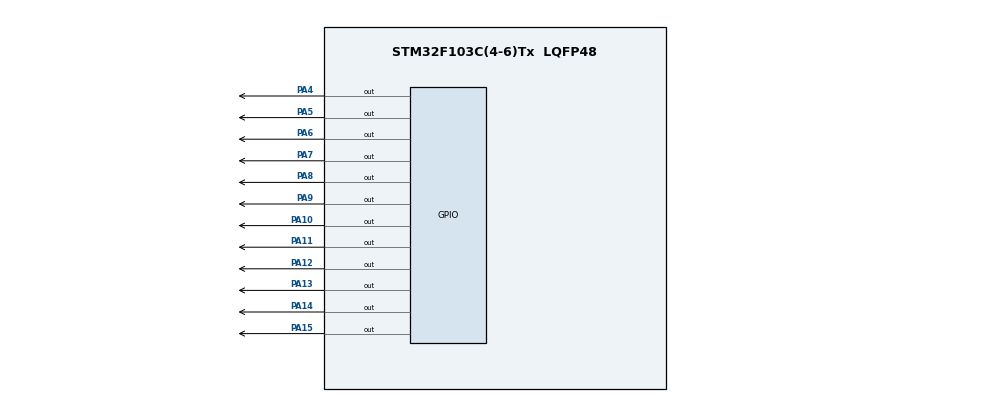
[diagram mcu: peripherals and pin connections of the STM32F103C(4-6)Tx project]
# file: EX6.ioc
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Mcu.Family=STM32F1
Mcu.Name=STM32F103C(4-6)Tx
Mcu.Package=LQFP48
NVIC.PriorityGroup=NVIC_PRIORITYGROUP_4
PA10.Signal=GPIO_Output
PA11.Signal=GPIO_Output
PA12.Signal=GPIO_Output
PA13.Signal=GPIO_Output
PA14.Signal=GPIO_Output
PA15.Signal=GPIO_Output
PA4.Signal=GPIO_Output
PA5.Signal=GPIO_Output
PA6.Signal=GPIO_Output
PA7.Signal=GPIO_Output
PA8.Signal=GPIO_Output
PA9.Signal=GPIO_Output
PD0-OSC_IN.Mode=HSE-External-Oscillator
PD0-OSC_IN.Signal=RCC_OSC_IN
PD1-OSC_OUT.Mode=HSE-External-Oscillator
PD1-OSC_OUT.Signal=RCC_OSC_OUT
ProjectManager.HeapSize=0x200
ProjectManager.StackSize=0x400
ProjectManager.TargetToolchain=STM32CubeIDE
RCC.APB1Freq_Value=8000000
RCC.APB2Freq_Value=8000000
VP_SYS_VS_ND.Mode=No_Debug
board=custom

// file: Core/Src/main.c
/* USER CODE BEGIN Header */
/**
  ******************************************************************************
  * @file           : main.c
  * @brief          : Main program body
  ******************************************************************************
  * @attention
  *
  * <h2><center>&copy; Copyright (c) 2021 STMicroelectronics.
  * All rights reserved.</center></h2>
  *
  * This software component is licensed by ST under BSD 3-Clause license,
  * the "License"; You may not use this file except in compliance with the
  * License. You may obtain a copy of the License at:
  *                        opensource.org/licenses/BSD-3-Clause
  *
  ******************************************************************************
  */
/* USER CODE END Header */
#include "main.h"

void SystemClock_Config(void);
static void MX_GPIO_Init(void);

/* USER CODE BEGIN 0 */
void setNumberOnClock(int num) {
	switch (num) {
		case 0:
			HAL_GPIO_WritePin(GPIOA, GPIO_PIN_5 | GPIO_PIN_6 | GPIO_PIN_7 | GPIO_PIN_8 | GPIO_PIN_9 |
								GPIO_PIN_10 | GPIO_PIN_11 | GPIO_PIN_12 | GPIO_PIN_13 | GPIO_PIN_14 | GPIO_PIN_15, GPIO_PIN_SET);
			HAL_GPIO_WritePin(GPIOA, GPIO_PIN_4, GPIO_PIN_RESET);
			break;
		case 1:
			HAL_GPIO_WritePin(GPIOA, GPIO_PIN_4 | GPIO_PIN_6 | GPIO_PIN_7 | GPIO_PIN_8 | GPIO_PIN_9 |
					GPIO_PIN_10 | GPIO_PIN_11 | GPIO_PIN_12 | GPIO_PIN_13 | GPIO_PIN_14 | GPIO_PIN_15, GPIO_PIN_SET);
			HAL_GPIO_WritePin(GPIOA, GPIO_PIN_5, GPIO_PIN_RESET);
			break;
		case 2:
			HAL_GPIO_WritePin(GPIOA, GPIO_PIN_4|GPIO_PIN_5|GPIO_PIN_7
			                          |GPIO_PIN_8|GPIO_PIN_9|GPIO_PIN_10|GPIO_PIN_11
			                          |GPIO_PIN_12|GPIO_PIN_13|GPIO_PIN_14|GPIO_PIN_15, GPIO_PIN_SET);
			HAL_GPIO_WritePin(GPIOA, GPIO_PIN_6, GPIO_PIN_RESET);
			break;
		case 3:
			HAL_GPIO_WritePin(GPIOA, GPIO_PIN_4|GPIO_PIN_5|GPIO_PIN_6
			                          |GPIO_PIN_8|GPIO_PIN_9|GPIO_PIN_10|GPIO_PIN_11
			                          |GPIO_PIN_12|GPIO_PIN_13|GPIO_PIN_14|GPIO_PIN_15, GPIO_PIN_SET);
			HAL_GPIO_WritePin(GPIOA, GPIO_PIN_7, GPIO_PIN_RESET);
			break;
		case 4:
			HAL_GPIO_WritePin(GPIOA, GPIO_PIN_4|GPIO_PIN_5|GPIO_PIN_6|GPIO_PIN_7
			                          |GPIO_PIN_9|GPIO_PIN_10|GPIO_PIN_11
			                          |GPIO_PIN_12|GPIO_PIN_13|GPIO_PIN_14|GPIO_PIN_15, GPIO_PIN_SET);
			HAL_GPIO_WritePin(GPIOA, GPIO_PIN_8, GPIO_PIN_RESET);
			break;
		case 5:
			HAL_GPIO_WritePin(GPIOA, GPIO_PIN_4|GPIO_PIN_5|GPIO_PIN_6|GPIO_PIN_7
			                          |GPIO_PIN_8|GPIO_PIN_10|GPIO_PIN_11
			                          |GPIO_PIN_12|GPIO_PIN_13|GPIO_PIN_14|GPIO_PIN_15, GPIO_PIN_SET);
			HAL_GPIO_WritePin(GPIOA, GPIO_PIN_9, GPIO_PIN_RESET);
			break;
		case 6:
			HAL_GPIO_WritePin(GPIOA, GPIO_PIN_4|GPIO_PIN_5|GPIO_PIN_6|GPIO_PIN_7
			                          |GPIO_PIN_8|GPIO_PIN_9|GPIO_PIN_11
			                          |GPIO_PIN_12|GPIO_PIN_13|GPIO_PIN_14|GPIO_PIN_15, GPIO_PIN_SET);
			HAL_GPIO_WritePin(GPIOA, GPIO_PIN_10, GPIO_PIN_RESET);
			break;
		case 7:
			HAL_GPIO_WritePin(GPIOA, GPIO_PIN_4|GPIO_PIN_5|GPIO_PIN_6|GPIO_PIN_7
			                          |GPIO_PIN_8|GPIO_PIN_9|GPIO_PIN_10
			                          |GPIO_PIN_12|GPIO_PIN_13|GPIO_PIN_14|GPIO_PIN_15, GPIO_PIN_SET);
			HAL_GPIO_WritePin(GPIOA, GPIO_PIN_11, GPIO_PIN_RESET);
			break;
		case 8:
			HAL_GPIO_WritePin(GPIOA, GPIO_PIN_4|GPIO_PIN_5|GPIO_PIN_6|GPIO_PIN_7
			                          |GPIO_PIN_8|GPIO_PIN_9|GPIO_PIN_10|GPIO_PIN_11
			                          |GPIO_PIN_13|GPIO_PIN_14|GPIO_PIN_15, GPIO_PIN_SET);
			HAL_GPIO_WritePin(GPIOA, GPIO_PIN_12, GPIO_PIN_RESET);
			break;
		case 9:
			HAL_GPIO_WritePin(GPIOA, GPIO_PIN_4|GPIO_PIN_5|GPIO_PIN_6|GPIO_PIN_7
			                          |GPIO_PIN_8|GPIO_PIN_9|GPIO_PIN_10|GPIO_PIN_11
			                          |GPIO_PIN_12|GPIO_PIN_14|GPIO_PIN_15, GPIO_PIN_SET);
			HAL_GPIO_WritePin(GPIOA, GPIO_PIN_13, GPIO_PIN_RESET);
			break;
		case 10:
			HAL_GPIO_WritePin(GPIOA, GPIO_PIN_4|GPIO_PIN_5|GPIO_PIN_6|GPIO_PIN_7
			                          |GPIO_PIN_8|GPIO_PIN_9|GPIO_PIN_10|GPIO_PIN_11
			                          |GPIO_PIN_12|GPIO_PIN_13|GPIO_PIN_15, GPIO_PIN_SET);
			HAL_GPIO_WritePin(GPIOA, GPIO_PIN_14, GPIO_PIN_RESET);
			break;
		case 11:
			HAL_GPIO_WritePin(GPIOA, GPIO_PIN_4|GPIO_PIN_5|GPIO_PIN_6|GPIO_PIN_7
			                          |GPIO_PIN_8|GPIO_PIN_9|GPIO_PIN_10|GPIO_PIN_11
			                          |GPIO_PIN_12|GPIO_PIN_13|GPIO_PIN_14, GPIO_PIN_SET);
			HAL_GPIO_WritePin(GPIOA, GPIO_PIN_15, GPIO_PIN_RESET);
			break;
	}
}

void clearNumberOnClock(int num) {
	switch (num) {
		case 0:
			HAL_GPIO_WritePin(GPIOA, GPIO_PIN_4, GPIO_PIN_SET);
			break;
		case 1:
			HAL_GPIO_WritePin(GPIOA, GPIO_PIN_5, GPIO_PIN_SET);
			break;
		case 2:
			HAL_GPIO_WritePin(GPIOA, GPIO_PIN_6, GPIO_PIN_SET);
			break;
		case 3:
			HAL_GPIO_WritePin(GPIOA, GPIO_PIN_7, GPIO_PIN_SET);
			break;
		case 4:
			HAL_GPIO_WritePin(GPIOA, GPIO_PIN_8, GPIO_PIN_SET);
			break;
		case 5:
			HAL_GPIO_WritePin(GPIOA, GPIO_PIN_9, GPIO_PIN_SET);
			break;
		case 6:
			HAL_GPIO_WritePin(GPIOA, GPIO_PIN_10, GPIO_PIN_SET);
			break;
		case 7:
			HAL_GPIO_WritePin(GPIOA, GPIO_PIN_11, GPIO_PIN_SET);
			break;
		case 8:
			HAL_GPIO_WritePin(GPIOA, GPIO_PIN_12, GPIO_PIN_SET);
			break;
		case 9:
			HAL_GPIO_WritePin(GPIOA, GPIO_PIN_13, GPIO_PIN_SET);
			break;
		case 10:
			HAL_GPIO_WritePin(GPIOA, GPIO_PIN_14, GPIO_PIN_SET);
			break;
		case 11:
			HAL_GPIO_WritePin(GPIOA, GPIO_PIN_15, GPIO_PIN_SET);
			break;
	}
}

void setAllNum() {
	HAL_GPIO_WritePin(GPIOA, GPIO_PIN_4, GPIO_PIN_RESET);
	HAL_GPIO_WritePin(GPIOA, GPIO_PIN_5, GPIO_PIN_RESET);
	HAL_GPIO_WritePin(GPIOA, GPIO_PIN_6, GPIO_PIN_RESET);
	HAL_GPIO_WritePin(GPIOA, GPIO_PIN_7, GPIO_PIN_RESET);
	HAL_GPIO_WritePin(GPIOA, GPIO_PIN_8, GPIO_PIN_RESET);
	HAL_GPIO_WritePin(GPIOA, GPIO_PIN_9, GPIO_PIN_RESET);
	HAL_GPIO_WritePin(GPIOA, GPIO_PIN_10, GPIO_PIN_RESET);
	HAL_GPIO_WritePin(GPIOA, GPIO_PIN_11, GPIO_PIN_RESET);
	HAL_GPIO_WritePin(GPIOA, GPIO_PIN_12, GPIO_PIN_RESET);
	HAL_GPIO_WritePin(GPIOA, GPIO_PIN_13, GPIO_PIN_RESET);
	HAL_GPIO_WritePin(GPIOA, GPIO_PIN_14, GPIO_PIN_RESET);
	HAL_GPIO_WritePin(GPIOA, GPIO_PIN_15, GPIO_PIN_RESET);
}

void clearAllClock() {
	HAL_GPIO_WritePin(GPIOA, GPIO_PIN_4, GPIO_PIN_SET);
	HAL_GPIO_WritePin(GPIOA, GPIO_PIN_5, GPIO_PIN_SET);
	HAL_GPIO_WritePin(GPIOA, GPIO_PIN_6, GPIO_PIN_SET);
	HAL_GPIO_WritePin(GPIOA, GPIO_PIN_7, GPIO_PIN_SET);
	HAL_GPIO_WritePin(GPIOA, GPIO_PIN_8, GPIO_PIN_SET);
	HAL_GPIO_WritePin(GPIOA, GPIO_PIN_9, GPIO_PIN_SET);
	HAL_GPIO_WritePin(GPIOA, GPIO_PIN_10, GPIO_PIN_SET);
	HAL_GPIO_WritePin(GPIOA, GPIO_PIN_11, GPIO_PIN_SET);
	HAL_GPIO_WritePin(GPIOA, GPIO_PIN_12, GPIO_PIN_SET);
	HAL_GPIO_WritePin(GPIOA, GPIO_PIN_13, GPIO_PIN_SET);
	HAL_GPIO_WritePin(GPIOA, GPIO_PIN_14, GPIO_PIN_SET);
	HAL_GPIO_WritePin(GPIOA, GPIO_PIN_15, GPIO_PIN_SET);
}
/* USER CODE END 0 */

int main(void)
{

  /* MCU Configuration--------------------------------------------------------*/

  /* Reset of all peripherals, Initializes the Flash interface and the Systick. */
  HAL_Init();

  /* Configure the system clock */
  SystemClock_Config();

  /* Initialize all configured peripherals */
  MX_GPIO_Init();
  /* USER CODE BEGIN 2 */
  //int count = 0;
  /* USER CODE END 2 */
  int status = 0;
  /* Infinite loop */
  while (1)
  {
	  setAllNum();
	  HAL_Delay(200);
	  switch(status) {
	  	  case 0:// ClearAllClock
	  		  clearAllClock();
	  		  HAL_Delay(200);
	  	  case 1:// Turn one by one
	  		  for(int i = 0; i < 12; i++) {
	  			  setNumberOnClock(i);
	  			  HAL_Delay(200);
	  		  }
	  		  break;
	  	  case 2:// Clear one by one
	  		  setAllNum();
	  		  for(int i = 0; i < 12; i++) {
	  			  clearNumberOnClock(i);
	  			  HAL_Delay(200);
	  		  }
	  		  break;
	  }
	  status++;
	  if(status > 2) status = 0;
	  HAL_Delay(200);
  }
}

void SystemClock_Config(void)
{
  RCC_OscInitTypeDef RCC_OscInitStruct = {0};
  RCC_ClkInitTypeDef RCC_ClkInitStruct = {0};

  /** Initializes the RCC Oscillators according to the specified parameters
  * in the RCC_OscInitTypeDef structure.
  */
  RCC_OscInitStruct.OscillatorType = RCC_OSCILLATORTYPE_HSI;
  RCC_OscInitStruct.HSIState = RCC_HSI_ON;
  RCC_OscInitStruct.HSICalibrationValue = RCC_HSICALIBRATION_DEFAULT;
  RCC_OscInitStruct.PLL.PLLState = RCC_PLL_NONE;
  if (HAL_RCC_OscConfig(&RCC_OscInitStruct) != HAL_OK)
  {
    Error_Handler();
  }
  /** Initializes the CPU, AHB and APB buses clocks
  */
  RCC_ClkInitStruct.ClockType = RCC_CLOCKTYPE_HCLK|RCC_CLOCKTYPE_SYSCLK
                              |RCC_CLOCKTYPE_PCLK1|RCC_CLOCKTYPE_PCLK2;
  RCC_ClkInitStruct.SYSCLKSource = RCC_SYSCLKSOURCE_HSI;
  RCC_ClkInitStruct.AHBCLKDivider = RCC_SYSCLK_DIV1;
  RCC_ClkInitStruct.APB1CLKDivider = RCC_HCLK_DIV1;
  RCC_ClkInitStruct.APB2CLKDivider = RCC_HCLK_DIV1;

  if (HAL_RCC_ClockConfig(&RCC_ClkInitStruct, FLASH_LATENCY_0) != HAL_OK)
  {
    Error_Handler();
  }
}

static void MX_GPIO_Init(void)
{
  GPIO_InitTypeDef GPIO_InitStruct = {0};

  /* GPIO Ports Clock Enable */
  __HAL_RCC_GPIOD_CLK_ENABLE();
  __HAL_RCC_GPIOA_CLK_ENABLE();

  /*Configure GPIO pin Output Level */
  HAL_GPIO_WritePin(GPIOA, GPIO_PIN_4|GPIO_PIN_5|GPIO_PIN_6|GPIO_PIN_7
                          |GPIO_PIN_8|GPIO_PIN_9|GPIO_PIN_10|GPIO_PIN_11
                          |GPIO_PIN_12|GPIO_PIN_13|GPIO_PIN_14|GPIO_PIN_15, GPIO_PIN_RESET);

  /*Configure GPIO pins : PA4 PA5 PA6 PA7
                           PA8 PA9 PA10 PA11
                           PA12 PA13 PA14 PA15 */
  GPIO_InitStruct.Pin = GPIO_PIN_4|GPIO_PIN_5|GPIO_PIN_6|GPIO_PIN_7
                          |GPIO_PIN_8|GPIO_PIN_9|GPIO_PIN_10|GPIO_PIN_11
                          |GPIO_PIN_12|GPIO_PIN_13|GPIO_PIN_14|GPIO_PIN_15;
  GPIO_InitStruct.Mode = GPIO_MODE_OUTPUT_PP;
  GPIO_InitStruct.Pull = GPIO_NOPULL;
  GPIO_InitStruct.Speed = GPIO_SPEED_FREQ_LOW;
  HAL_GPIO_Init(GPIOA, &GPIO_InitStruct);

}

void Error_Handler(void)
{
  __disable_irq();
  while (1)
  {
  }
}

/************************ (C) COPYRIGHT STMicroelectronics *****END OF FILE****/
